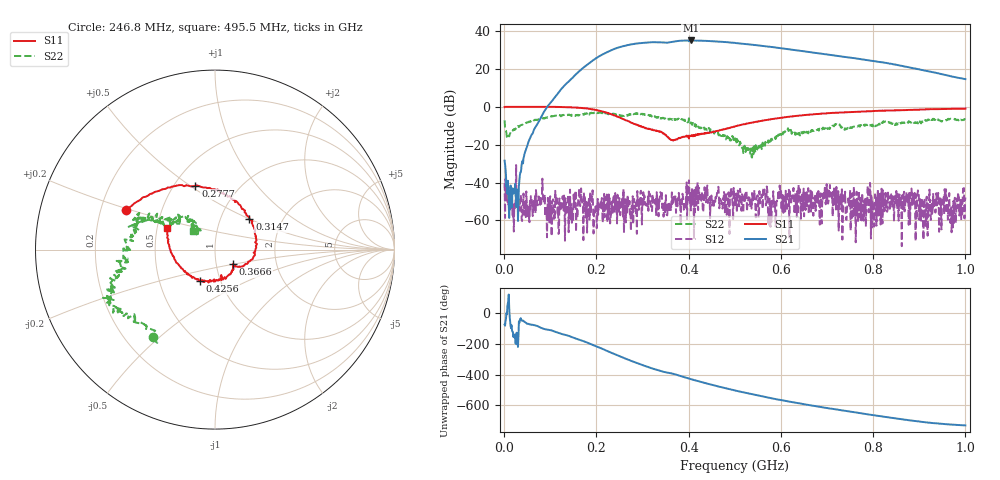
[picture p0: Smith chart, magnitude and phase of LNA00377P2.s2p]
! Created with skrf 1.9.0 (http://scikit-rf.org).
# Hz S RI R 50.0
!freq ReS11 ImS11 ReS21 ImS21 ReS12 ImS12 ReS22 ImS22
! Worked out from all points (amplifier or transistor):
!   1001 points, 1 MHz to 1 GHz, reference 50 ohm
!   highest |S21| = 35.0 dB at 404.6 MHz (marker M1)
!   |S21| within 3 dB of that: 258.5 MHz to 563.6 MHz (305 MHz wide, 74.2 % of centre)
!   unconditionally stable (mu >= 1): 224.8 MHz to 295.6 MHz; 296 MHz to 395.5 MHz; 400.9 MHz to end of sweep (the widest 3 of 38)
!   at 166.8 MHz: K = 0.61, MSG = 31.4 dB, |S12| = -43.1 dB
!   at 500.5 MHz: K = 2.48, MAG = 34.3 dB, |S12| = -48.5 dB
!   at 1 GHz: K = 3.44, MAG = 23.0 dB, |S12| = -47.9 dB
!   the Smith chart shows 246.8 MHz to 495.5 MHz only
!   S11 on the Smith chart (normalised r, x): 246.8 MHz: 0.31, +0.19; 277.7 MHz: 0.63, +0.52; 314.7 MHz: 1.37, +0.50; 366.6 MHz: 1.20, -0.20; 425.6 MHz: 0.80, -0.29; 495.5 MHz: 0.57, +0.15
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1000000  0.9802 0.00127  0.0112 -0.0363  -0.0026 0.00934  0.3331 0.2868
1.08892e8  0.5058 -0.8558  -0.8036 -1.512  -0.000625 0.00175  0.4393 -0.3672
1.67833e8  -0.2612 -0.8915  -9.874 -0.545  0.000295 0.00386  0.0642 -0.6262
2.11789e8  -0.6971 -0.3163  -15.08 18.15  -0.000301 0.00389  -0.1887 -0.6548
2.46754e8  -0.4954 0.2197  3.288 36.23  -0.00195 0.000584  -0.3428 -0.487
2.77723e8  -0.1096 0.3558  30.5 33.12  0.000158 0.00136  -0.5585 -0.3334
2.96704e8  0.0818 0.2993  42.99 21.11  -0.00547 0.00265  -0.6025 -0.2579
3.14686e8  0.1915 0.1708  49.66 5.788  -0.00384 -0.000892  -0.5687 -0.1704
3.34666e8  0.2252 0.00176  49.33 -10.98  -0.00127 0.000212  -0.5379 -0.0626
3.66634e8  0.1 -0.0811  42.94 -29.9  -0.00299 1.93e-05  -0.4233 0.1092
4.04596e8  0.023 -0.1655  19.85 -52.79  -0.00157 0.000936  -0.3496 0.1672
4.25575e8  -0.0832 -0.1738  3 -55.43  0.00189 0.00415  -0.22 0.1573
4.55545e8  -0.2003 -0.088  -18.98 -49.9  0.000547 -0.00341  -0.1166 0.1568
4.95505e8  -0.2656 0.1182  -37.84 -31.35  0.000877 -0.00232  -0.1204 0.1027
5.005e8  -0.2666 0.142  -39.2 -28.91  -0.0021 0.00313  -0.1121 0.0982
5.4046e8  -0.1786 0.3431  -42.43 -7.38  0.00343 -0.00288  -0.0554 -0.0086
5.84416e8  0.0125 0.4808  -35.71 11.09  0.00115 -0.00257  -0.133 -0.0649
6.25375e8  0.2039 0.5221  -24.32 20.6  5.43e-05 -0.00409  -0.1769 -0.1156
6.67333e8  0.4022 0.4837  -12.61 23.96  0.00514 -0.00238  -0.2194 -0.0552
7.53247e8  0.6758 0.2687  4.512 19.07  -0.00186 0.000747  -0.2794 0.00902
8.34166e8  0.7938 0.00632  10.62 9.029  -0.00276 -0.00289  -0.3811 0.00498
1e9  0.7228 -0.5326  5.264 -1.137  0.00301 0.00266  -0.3356 0.3075
